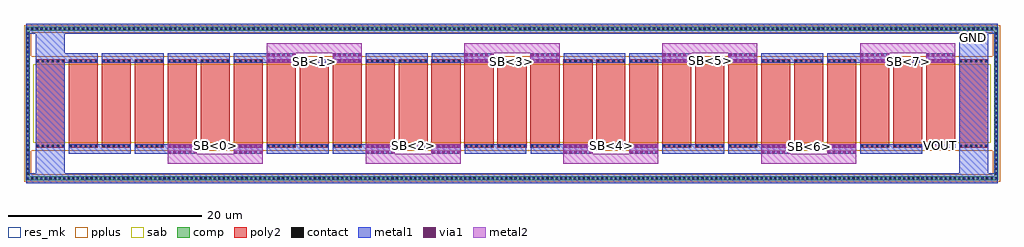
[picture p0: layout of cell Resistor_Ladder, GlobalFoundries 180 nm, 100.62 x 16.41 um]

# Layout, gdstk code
from math import pi, radians
import gdstk
lib = gdstk.Library(unit=1e-6, precision=1e-09)
def R(c, l, rs):  # rectangles x0, y0, x1, y1
    for r in rs: c.add(gdstk.rectangle(r[:2], r[2:], *l))
def A(c, l, x, y, w, h, nx, ny, dx, dy):  # array of equal rectangles
    R(c, l, [(x+i*dx, y+j*dy, x+i*dx+w, y+j*dy+h) for i in range(nx) for j in range(ny)])
comp = (22, 0)
poly2 = (30, 0)
pplus = (31, 0)
contact = (33, 0)
metal1 = (34, 0)
via1 = (35, 0)
metal2 = (36, 0)
sab = (49, 0)
res_mk = (110, 5)

ppolyf_u_cdns_7643623995 = lib.new_cell('ppolyf_u_CDNS_764362399510')
R(ppolyf_u_cdns_7643623995, poly2, [(0,0,9.105,3), (0,3.4,9.105,6.4)])
R(ppolyf_u_cdns_7643623995, pplus, [(-0.3,-0.3,9.405,6.7)])
A(ppolyf_u_cdns_7643623995, contact, 0.07, 0.07, 0.22, 0.22, 1, 4, 0, 0.53)
A(ppolyf_u_cdns_7643623995, contact, 8.815, 0.07, 0.22, 0.22, 1, 4, 0, 0.53)
A(ppolyf_u_cdns_7643623995, contact, 0.07, 3.47, 0.22, 0.22, 1, 4, 0, 0.53)
A(ppolyf_u_cdns_7643623995, contact, 8.815, 3.47, 0.22, 0.22, 1, 4, 0, 0.53)
R(ppolyf_u_cdns_7643623995, contact, [(0.07,2.185,0.29,2.405), (8.815,2.185,9.035,2.405), (0.07,2.71,0.29,2.93), (8.815,2.71,9.035,2.93), (0.07,5.585,0.29,5.805), (8.815,5.585,9.035,5.805), (0.07,6.11,0.29,6.33), (8.815,6.11,9.035,6.33)])
R(ppolyf_u_cdns_7643623995, metal1, [(0.01,0.01,0.35,2.99), (0.01,0.01,0.35,2.99), (8.755,0.01,9.095,2.99), (8.755,0.01,9.095,6.39), (0.01,3.41,0.35,6.39), (0.01,3.41,0.35,6.39), (8.755,3.41,9.095,6.39)])
R(ppolyf_u_cdns_7643623995, sab, [(0.51,-0.28,8.595,6.68)])
R(ppolyf_u_cdns_7643623995, res_mk, [(0.51,0,8.595,3), (0.51,3.4,8.595,6.4)])
ppolyf_u_cdns_7643623995.add(gdstk.Label('MINUS', (0.18,4.9), layer=34, texttype=0))
ppolyf_u_cdns_7643623995.add(gdstk.Label('PLUS', (0.18,1.5), layer=34, texttype=0))

c_ppolyf_u_cdns_7643623995 = lib.new_cell('ppolyf_u_CDNS_764362399511')
R(c_ppolyf_u_cdns_7643623995, poly2, [(0,0,9.105,3)])
R(c_ppolyf_u_cdns_7643623995, pplus, [(-0.3,-0.3,9.405,3.3)])
A(c_ppolyf_u_cdns_7643623995, contact, 0.07, 0.07, 0.22, 0.22, 1, 4, 0, 0.53)
A(c_ppolyf_u_cdns_7643623995, contact, 8.815, 0.07, 0.22, 0.22, 1, 4, 0, 0.53)
R(c_ppolyf_u_cdns_7643623995, contact, [(0.07,2.185,0.29,2.405), (8.815,2.185,9.035,2.405), (0.07,2.71,0.29,2.93), (8.815,2.71,9.035,2.93)])
R(c_ppolyf_u_cdns_7643623995, metal1, [(0.01,0.01,0.35,2.99), (0.01,0.01,0.35,2.99), (8.755,0.01,9.095,2.99), (8.755,0.01,9.095,2.99)])
R(c_ppolyf_u_cdns_7643623995, sab, [(0.51,-0.28,8.595,3.28)])
R(c_ppolyf_u_cdns_7643623995, res_mk, [(0.51,0,8.595,3)])
c_ppolyf_u_cdns_7643623995.add(gdstk.Label('MINUS', (8.925,1.5), layer=34, texttype=0))
c_ppolyf_u_cdns_7643623995.add(gdstk.Label('PLUS', (0.18,1.5), layer=34, texttype=0))

m2_m1_cdns_764362399510 = lib.new_cell('M2_M1_CDNS_764362399510')
R(m2_m1_cdns_764362399510, metal1, [(-1.5,-0.5,1.5,0.5)])
A(m2_m1_cdns_764362399510, via1, -1.43, -0.44, 0.26, 0.26, 6, 2, 0.52, 0.62)
R(m2_m1_cdns_764362399510, metal2, [(-1.5,-0.5,1.5,0.5)])

resistor_ladder = lib.new_cell('Resistor_Ladder')
R(resistor_ladder, pplus, [(-0.44,-9.405,98.64,0.3)])
A(resistor_ladder, contact, -0.935, -12.365, 0.22, 0.22, 171, 1, 0.47, 0)
A(resistor_ladder, contact, 79.44, -12.365, 0.22, 0.22, 42, 1, 0.475, 0)
A(resistor_ladder, contact, 98.915, -11.885, 0.22, 0.22, 1, 23, 0, 0.48)
A(resistor_ladder, contact, -0.935, -11.88, 0.22, 0.22, 1, 9, 0, 0.485)
A(resistor_ladder, contact, -0.935, -7.52, 0.22, 0.22, 1, 22, 0, 0.48)
A(resistor_ladder, contact, 98.915, -0.84, 0.22, 0.22, 1, 8, 0, 0.485)
A(resistor_ladder, contact, -0.935, 3.04, 0.22, 0.22, 55, 1, 0.475, 0)
A(resistor_ladder, contact, 25.185, 3.04, 0.22, 0.22, 51, 1, 0.47, 0)
A(resistor_ladder, contact, 49.375, 3.04, 0.22, 0.22, 39, 1, 0.475, 0)
A(resistor_ladder, contact, 67.895, 3.04, 0.22, 0.22, 67, 1, 0.47, 0)
resistor_ladder.add(gdstk.FlexPath([(96.7,-12.255),(96.7,-12.26)], 2.98, ends=(0.5, 0), simple_path=True, layer=34, datatype=0))  # metal1
resistor_ladder.add(gdstk.FlexPath([(96.7,-12.255),(99.195,-12.255)], 1, ends=(1.49, 0), simple_path=True, layer=34, datatype=0))  # metal1
resistor_ladder.add(gdstk.FlexPath([(96.7,3.15),(99.195,3.15)], 1, ends=(1.49, 0), simple_path=True, layer=34, datatype=0))  # metal1
resistor_ladder.add(gdstk.FlexPath([(49.2,3.15),(99.025,3.15),(99.025,-12.255),(-0.825,-12.255),(-0.825,3.15),(49.2,3.15)], 0.34, ends="flush", simple_path=True, layer=34, datatype=0))  # metal1
resistor_ladder.add(gdstk.FlexPath([(1.5,0.15),(6.39,0.15)], 1, ends=(1.49, 0), simple_path=True, layer=34, datatype=0))  # metal1
resistor_ladder.add(gdstk.FlexPath([(1.5,0.15),(1.5,-8.755)], 2.98, ends=(0.5, 0), simple_path=True, layer=34, datatype=0))  # metal1
resistor_ladder.add(gdstk.FlexPath([(1.5,3.15),(96.7,3.15)], 1, ends=(1.49, 1.49), simple_path=True, layer=34, datatype=0))  # metal1
resistor_ladder.add(gdstk.FlexPath([(-0.995,3.15),(1.5,3.15)], 1, ends=(0, 1.49), simple_path=True, layer=34, datatype=0))  # metal1
resistor_ladder.add(gdstk.FlexPath([(81.61,0.15),(87.99,0.15)], 1, ends="flush", simple_path=True, layer=34, datatype=0))  # metal1
resistor_ladder.add(gdstk.FlexPath([(61.21,0.15),(67.59,0.15)], 1, ends="flush", simple_path=True, layer=34, datatype=0))  # metal1
resistor_ladder.add(gdstk.FlexPath([(40.81,0.15),(47.19,0.15)], 1, ends="flush", simple_path=True, layer=34, datatype=0))  # metal1
resistor_ladder.add(gdstk.FlexPath([(6.81,0.15),(13.19,0.15)], 1, ends="flush", simple_path=True, layer=34, datatype=0))  # metal1
resistor_ladder.add(gdstk.FlexPath([(20.41,0.15),(26.79,0.15)], 1, ends="flush", simple_path=True, layer=34, datatype=0))  # metal1
resistor_ladder.add(gdstk.FlexPath([(71.41,-9.255),(77.79,-9.255)], 1, ends="flush", simple_path=True, layer=34, datatype=0))  # metal1
resistor_ladder.add(gdstk.FlexPath([(51.01,-9.255),(57.39,-9.255)], 1, ends="flush", simple_path=True, layer=34, datatype=0))  # metal1
resistor_ladder.add(gdstk.FlexPath([(30.61,-9.255),(36.99,-9.255)], 1, ends="flush", simple_path=True, layer=34, datatype=0))  # metal1
resistor_ladder.add(gdstk.FlexPath([(10.21,-9.255),(16.59,-9.255)], 1, ends="flush", simple_path=True, layer=34, datatype=0))  # metal1
resistor_ladder.add(gdstk.FlexPath([(1.5,-12.255),(96.7,-12.255)], 1, ends=(1.49, 1.49), simple_path=True, layer=34, datatype=0))  # metal1
resistor_ladder.add(gdstk.FlexPath([(-0.995,-12.255),(1.5,-12.255)], 1, ends=(0, 1.49), simple_path=True, layer=34, datatype=0))  # metal1
resistor_ladder.add(gdstk.FlexPath([(1.5,-12.255),(1.5,-12.27)], 2.98, ends=(0.5, 0), simple_path=True, layer=34, datatype=0))  # metal1
resistor_ladder.add(gdstk.FlexPath([(96.7,3.15),(96.7,-8.755)], 2.98, ends=(0.5, 0), simple_path=True, layer=34, datatype=0))  # metal1
resistor_ladder.add(gdstk.FlexPath([(96.7,-9.095),(96.7,-12.255)], 2.98, ends=(0, 0.5), simple_path=True, layer=34, datatype=0))  # metal1
resistor_ladder.add(gdstk.FlexPath([(1.5,-9.095),(1.5,-12.255)], 2.98, ends=(0, 0.5), simple_path=True, layer=34, datatype=0))  # metal1
resistor_ladder.add(gdstk.FlexPath([(1.5,3.15),(1.5,0.15)], 2.98, ends=(0.5, 0.5), simple_path=True, layer=34, datatype=0))  # metal1
resistor_ladder.add(gdstk.FlexPath([(0.01,0.15),(1.5,0.15)], 1, ends=(0, 1.49), simple_path=True, layer=34, datatype=0))  # metal1
resistor_ladder.add(gdstk.FlexPath([(74.81,0.15),(81.19,0.15)], 1, ends="flush", simple_path=True, layer=34, datatype=0))  # metal1
resistor_ladder.add(gdstk.FlexPath([(54.41,0.15),(60.79,0.15)], 1, ends="flush", simple_path=True, layer=34, datatype=0))  # metal1
resistor_ladder.add(gdstk.FlexPath([(34.01,0.15),(40.39,0.15)], 1, ends="flush", simple_path=True, layer=34, datatype=0))  # metal1
resistor_ladder.add(gdstk.FlexPath([(13.61,0.15),(19.99,0.15)], 1, ends="flush", simple_path=True, layer=34, datatype=0))  # metal1
resistor_ladder.add(gdstk.FlexPath([(23.81,-9.255),(30.19,-9.255)], 1, ends="flush", simple_path=True, layer=34, datatype=0))  # metal1
resistor_ladder.add(gdstk.FlexPath([(44.21,-9.255),(50.59,-9.255)], 1, ends="flush", simple_path=True, layer=34, datatype=0))  # metal1
resistor_ladder.add(gdstk.FlexPath([(85.01,-9.255),(91.39,-9.255)], 1, ends="flush", simple_path=True, layer=34, datatype=0))  # metal1
resistor_ladder.add(gdstk.FlexPath([(64.61,-9.255),(70.99,-9.255)], 1, ends="flush", simple_path=True, layer=34, datatype=0))  # metal1
resistor_ladder.add(gdstk.FlexPath([(3.41,-9.255),(9.79,-9.255)], 1, ends="flush", simple_path=True, layer=34, datatype=0))  # metal1
resistor_ladder.add(gdstk.FlexPath([(86.5,1.15),(94.8,1.15)], 1, ends=(1.5, 0), simple_path=True, layer=36, datatype=0))  # metal2
resistor_ladder.add(gdstk.FlexPath([(66.1,1.15),(74.4,1.15)], 1, ends=(1.5, 0), simple_path=True, layer=36, datatype=0))  # metal2
resistor_ladder.add(gdstk.FlexPath([(45.7,1.15),(54,1.15)], 1, ends=(1.5, 0), simple_path=True, layer=36, datatype=0))  # metal2
resistor_ladder.add(gdstk.FlexPath([(25.3,1.15),(33.6,1.15)], 1, ends=(1.5, 0), simple_path=True, layer=36, datatype=0))  # metal2
resistor_ladder.add(gdstk.FlexPath([(76.3,-10.255),(84.6,-10.255)], 1, ends=(1.5, 0), simple_path=True, layer=36, datatype=0))  # metal2
resistor_ladder.add(gdstk.FlexPath([(55.9,-10.255),(64.2,-10.255)], 1, ends=(1.5, 0), simple_path=True, layer=36, datatype=0))  # metal2
resistor_ladder.add(gdstk.FlexPath([(35.5,-10.255),(43.8,-10.255)], 1, ends=(1.5, 0), simple_path=True, layer=36, datatype=0))  # metal2
resistor_ladder.add(gdstk.FlexPath([(15.1,-10.255),(23.4,-10.255)], 1, ends=(1.5, 0), simple_path=True, layer=36, datatype=0))  # metal2
resistor_ladder.add(gdstk.FlexPath([(49.2,3.15),(99.025,3.15),(99.025,-12.255),(-0.825,-12.255),(-0.825,3.15),(49.2,3.15)], 0.77, ends="flush", simple_path=True, layer=31, datatype=0))  # pplus
resistor_ladder.add(gdstk.FlexPath([(49.2,3.15),(99.025,3.15),(99.025,-12.255),(-0.825,-12.255),(-0.825,3.15),(49.2,3.15)], 0.45, ends="flush", simple_path=True, layer=22, datatype=0))  # comp
resistor_ladder.add(gdstk.Reference(ppolyf_u_cdns_7643623995, (85,0), rotation=3*pi/2))
resistor_ladder.add(gdstk.Reference(ppolyf_u_cdns_7643623995, (44.2,0), rotation=3*pi/2))
resistor_ladder.add(gdstk.Reference(ppolyf_u_cdns_7643623995, (64.6,0), rotation=3*pi/2))
resistor_ladder.add(gdstk.Reference(ppolyf_u_cdns_7643623995, (74.8,-9.105), rotation=pi/2, x_reflection=True))
resistor_ladder.add(gdstk.Reference(ppolyf_u_cdns_7643623995, (54.4,-9.105), rotation=pi/2, x_reflection=True))
resistor_ladder.add(gdstk.Reference(ppolyf_u_cdns_7643623995, (23.8,0), rotation=3*pi/2))
resistor_ladder.add(gdstk.Reference(ppolyf_u_cdns_7643623995, (34,-9.105), rotation=pi/2, x_reflection=True))
resistor_ladder.add(gdstk.Reference(ppolyf_u_cdns_7643623995, (13.6,-9.105), rotation=pi/2, x_reflection=True))
resistor_ladder.add(gdstk.Reference(ppolyf_u_cdns_7643623995, (9.8,0), rotation=3*pi/2, x_reflection=True))
resistor_ladder.add(gdstk.Reference(c_ppolyf_u_cdns_7643623995, (0,0), rotation=3*pi/2))
resistor_ladder.add(gdstk.Reference(c_ppolyf_u_cdns_7643623995, (95.2,0), rotation=3*pi/2))
resistor_ladder.add(gdstk.Reference(c_ppolyf_u_cdns_7643623995, (91.8,0), rotation=3*pi/2))
resistor_ladder.add(gdstk.Reference(c_ppolyf_u_cdns_7643623995, (81.6,-9.105), rotation=pi/2, x_reflection=True))
resistor_ladder.add(gdstk.Reference(c_ppolyf_u_cdns_7643623995, (71.4,0), rotation=3*pi/2))
resistor_ladder.add(gdstk.Reference(c_ppolyf_u_cdns_7643623995, (61.2,-9.105), rotation=pi/2, x_reflection=True))
resistor_ladder.add(gdstk.Reference(c_ppolyf_u_cdns_7643623995, (51,0), rotation=3*pi/2))
resistor_ladder.add(gdstk.Reference(c_ppolyf_u_cdns_7643623995, (40.8,-9.105), rotation=pi/2, x_reflection=True))
resistor_ladder.add(gdstk.Reference(c_ppolyf_u_cdns_7643623995, (30.6,0), rotation=3*pi/2))
resistor_ladder.add(gdstk.Reference(c_ppolyf_u_cdns_7643623995, (20.4,-9.105), rotation=pi/2, x_reflection=True))
resistor_ladder.add(gdstk.Reference(c_ppolyf_u_cdns_7643623995, (10.2,0), rotation=3*pi/2))
resistor_ladder.add(gdstk.Reference(m2_m1_cdns_764362399510, (86.5,0.15), x_reflection=True))
resistor_ladder.add(gdstk.Reference(m2_m1_cdns_764362399510, (93.3,0.15), x_reflection=True))
resistor_ladder.add(gdstk.Reference(m2_m1_cdns_764362399510, (72.9,0.15), x_reflection=True))
resistor_ladder.add(gdstk.Reference(m2_m1_cdns_764362399510, (66.1,0.15), x_reflection=True))
resistor_ladder.add(gdstk.Reference(m2_m1_cdns_764362399510, (45.7,0.15), x_reflection=True))
resistor_ladder.add(gdstk.Reference(m2_m1_cdns_764362399510, (52.5,0.15), x_reflection=True))
resistor_ladder.add(gdstk.Reference(m2_m1_cdns_764362399510, (25.3,0.15), x_reflection=True))
resistor_ladder.add(gdstk.Reference(m2_m1_cdns_764362399510, (32.1,0.15), x_reflection=True))
resistor_ladder.add(gdstk.Reference(m2_m1_cdns_764362399510, (76.3,-9.255)))
resistor_ladder.add(gdstk.Reference(m2_m1_cdns_764362399510, (83.1,-9.255)))
resistor_ladder.add(gdstk.Reference(m2_m1_cdns_764362399510, (62.7,-9.255)))
resistor_ladder.add(gdstk.Reference(m2_m1_cdns_764362399510, (55.9,-9.255)))
resistor_ladder.add(gdstk.Reference(m2_m1_cdns_764362399510, (35.5,-9.255)))
resistor_ladder.add(gdstk.Reference(m2_m1_cdns_764362399510, (42.3,-9.255)))
resistor_ladder.add(gdstk.Reference(m2_m1_cdns_764362399510, (21.9,-9.255)))
resistor_ladder.add(gdstk.Reference(m2_m1_cdns_764362399510, (15.1,-9.255)))
resistor_ladder.add(gdstk.Label('GND', (96.7,2.285), layer=34, texttype=10))
resistor_ladder.add(gdstk.Label('SB<7>', (89.93,-0.19), layer=34, texttype=10))
resistor_ladder.add(gdstk.Label('SB<6>', (79.72,-8.935), layer=34, texttype=10))
resistor_ladder.add(gdstk.Label('SB<5>', (69.53,-0.17), layer=34, texttype=10))
resistor_ladder.add(gdstk.Label('SB<4>', (59.315,-8.925), layer=34, texttype=10))
resistor_ladder.add(gdstk.Label('SB<3>', (49.08,-0.175), layer=34, texttype=10))
resistor_ladder.add(gdstk.Label('SB<2>', (38.925,-8.92), layer=34, texttype=10))
resistor_ladder.add(gdstk.Label('SB<1>', (28.775,-0.175), layer=34, texttype=10))
resistor_ladder.add(gdstk.Label('SB<0>', (18.5,-8.925), layer=34, texttype=10))
resistor_ladder.add(gdstk.Label('VOUT', (93.26,-8.925), layer=34, texttype=10))

lib.write_gds('Resistor_Ladder.gds')
